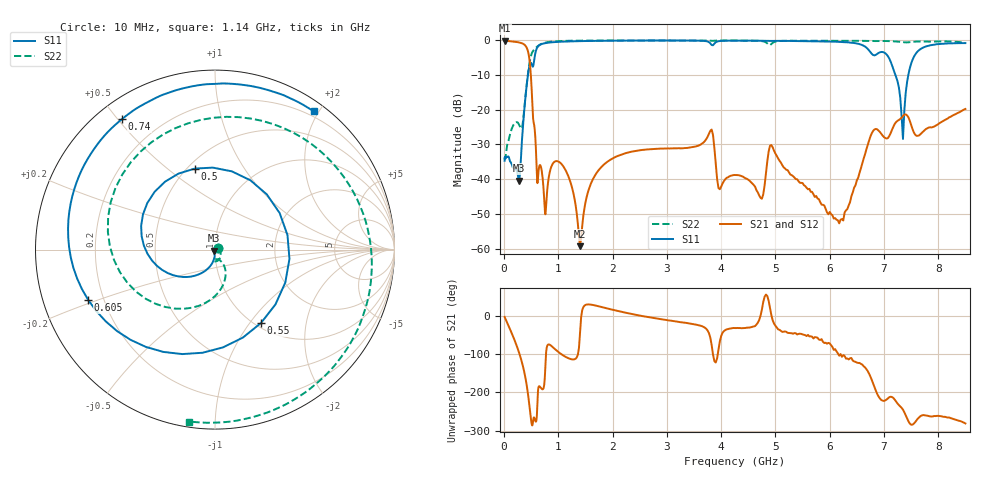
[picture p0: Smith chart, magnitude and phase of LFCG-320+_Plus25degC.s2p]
! Mini-Circuits
! S2P DATA File Format
! Type: LOW PASS FILTER
! Model: LFCG-320+
! All S Parameters are in dB deg format
! TEST CONDITIONS: INPUT POWER = 0 dBm @ Temperature = 25 deg C
# MHz S dB R 50
!Frequency  S11 dB  S11 DEG  S21 dB  S21 DEG  S12 dB  S12 DEG  S22 dB  S22 DEG
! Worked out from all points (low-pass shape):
!   502 points, 10 MHz to 8.5 GHz, reference 50 ohm
!   highest |S21| = -0.20 dB at 10 MHz (marker M1); lowest = -59.2 dB at 1.4 GHz (marker M2)
!   |S21| within 3 dB of the highest: start of sweep to 438.9 MHz
!   lowest |S11| = -40.4 dB at 275 MHz (marker M3), VSWR 1.02, Z = 49.2 - j0.508 ohm
!   |S11| at or under -10 dB: start of sweep to 440.4 MHz; 7.208 GHz to 7.449 GHz (240.8 MHz wide, 3.29 % of centre)
!   |S22| runs from -34.3 to -0.2 dB; largest |S21 - S12| = 0.0009
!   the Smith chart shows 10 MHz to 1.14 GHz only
!   S11 on the Smith chart (normalised r, x): 10 MHz: 1.03, +0.02; 500 MHz: 0.54, +0.63; 550 MHz: 1.06, -1.13; 605 MHz: 0.14, -0.19; 740 MHz: 0.07, +0.51; 1.14 GHz: 0.13, +1.94
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10  -34.70 23.4  -0.20 -3.4  -0.20 -3.4  -34.34 19.2
275  -40.40 -147.3  -0.72 -95.8  -0.72 -95.9  -24.34 -94.7
405  -14.74 -127.5  -1.91 -170.7  -1.90 -170.7  -14.54 -74.1
500  -6.65 104.0  -11.70 85.8  -11.70 85.9  -4.36 170.6
550  -6.33 -58.0  -24.07 95.2  -24.07 95.2  -2.86 102.0
605  -2.39 -158.3  -38.80 102.0  -38.81 102.0  -1.98 47.9
740  -0.98 125.5  -45.91 -179.9  -45.91 -179.8  -0.86 -25.6
1140  -0.47 54.4  -37.62 -107.9  -37.61 -107.8  -0.27 -98.6
1400  -0.35 30.8  -59.25 -44.9  -59.21 -45.2  -0.21 -117.7
1440  -0.35 27.8  -53.45 14.3  -53.39 14.1  -0.21 -119.9
1800  -0.25 4.8  -36.40 22.3  -36.40 22.3  -0.17 -134.9
2840  -0.17 -39.8  -31.26 -8.1  -31.27 -8.1  -0.18 -155.8
3800  -0.98 -70.5  -26.10 -57.3  -26.11 -57.3  -0.23 -166.0
4275  -0.22 -74.8  -38.81 -32.4  -38.81 -32.4  -0.16 -169.6
4725  -0.24 -83.7  -45.36 -0.4  -45.39 -0.3  -0.30 -175.5
4925  -0.29 -87.1  -30.19 1.2  -30.19 1.2  -1.19 -171.1
5675  -0.37 -101.6  -43.65 -54.8  -43.64 -54.8  -0.22 177.5
6200  -0.57 -115.4  -51.64 -100.1  -51.66 -99.9  -0.24 170.3
7100  -5.45 -161.0  -27.53 147.9  -27.54 147.9  -0.35 155.9
7350  -28.46 -96.0  -21.86 115.2  -21.86 115.2  -0.64 151.6
7625  -3.24 -76.2  -27.53 92.1  -27.53 92.1  -0.45 148.8
8500  -0.92 -132.5  -19.84 79.4  -19.84 79.4  -0.90 126.8
